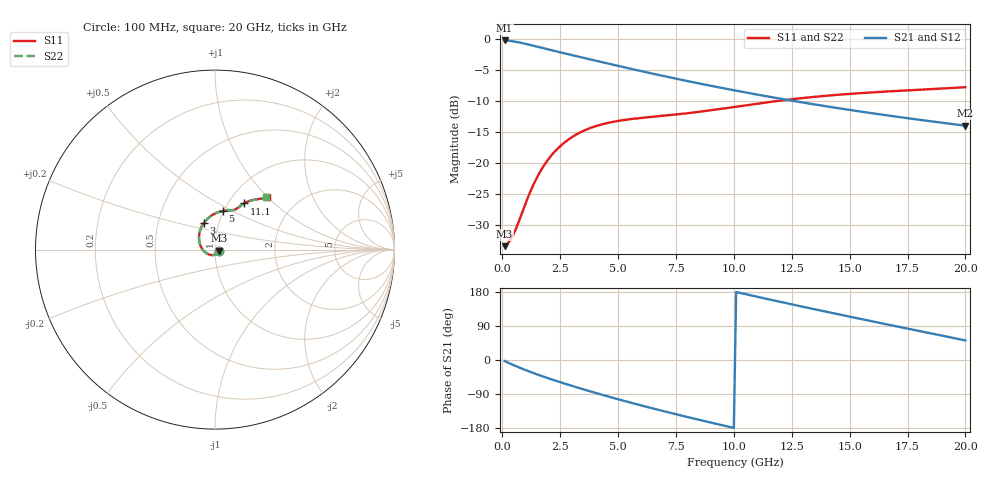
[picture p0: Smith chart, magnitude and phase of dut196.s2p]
! Touchstone file exported from HFSS 2023.1.0
!  File:  D:/Users/fzz/RDL_TSV/temp_RDL_TSV_196_1778756166.aedt
!  Generated:  7:05:07 %x4E0B%x5348  5%x6708 14, 2026
!  Design:  RDL_TSV
!  Project:  temp_RDL_TSV_196_1778756166
!  Setup:  Setup1
!  Solution:  Sweep
! Variables:
!  dtsv = 19.71um
!  hbump = 3um
!  htsv = 90.69um
!  ldown = 382.26um
!  lrdl = 664.3um
!  p = 40
!  p1 = 48.13um
!  rhole = 10um
!  subl = 3803.98um
!  t = 450um
!  tdown = 2.64um
!  trdl = 4.72um
!  viad = 10um
!  wdown = 25.63um
!  wrdl = 12.85um
!  xbump = 18um
# GHz S MA R 50.000000
! Terminal data exported
! Port[1] = TM1_1_T1
! Port[2] = TM1_4_T1
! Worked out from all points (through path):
!   200 points, 100 MHz to 20 GHz, reference 50 ohm
!   highest |S21| = -0.20 dB at 100 MHz (marker M1); lowest = -13.9 dB at 20 GHz (marker M2)
!   group delay of S21, straight-line fit = 40.7 ps
!   lowest |S11| = -33.4 dB at 100 MHz (marker M3), VSWR 1.04, Z = 52.1 - j0.626 ohm
!   |S11| at or under -10 dB: start of sweep to 11.78 GHz
!   |S22| runs from -33.4 to -7.8 dB; largest |S21 - S12| = 5.5e-15
!   S11 on the Smith chart (normalised r, x): 100 MHz: 1.04, -0.01; 3 GHz: 0.85, +0.26; 5 GHz: 0.99, +0.45; 11.1 GHz: 1.18, +0.67; 20 GHz: 1.40, +0.99
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0.1  0.02148 -16.2  0.9777 -2.8  0.9777 -2.8  0.02148 -16.2
! Gamma 0 0 0 0
! Port Impedance 50 0 50 0
0.3  0.0234 -50.1  0.9708 -8.4  0.9708 -8.4  0.02341 -50.1
0.5  0.02721 -83.8  0.9594 -13.8  0.9594 -13.8  0.02722 -83.8
0.9  0.04217 -138.8  0.928 -24.0  0.928 -24.0  0.04219 -138.7
1.4  0.07071 177.7  0.8815 -35.7  0.8815 -35.7  0.07072 177.8
1.7  0.08967 159.7  0.8536 -42.3  0.8536 -42.3  0.08967 159.7
2.1  0.1145 141.0  0.818 -50.6  0.818 -50.6  0.1145 141.1
2.5  0.1374 126.4  0.7846 -58.5  0.7846 -58.5  0.1374 126.5
3  0.1622 112.0  0.7454 -68.1  0.7454 -68.1  0.1622 112.0
3.5  0.1824 100.6  0.7086 -77.4  0.7086 -77.4  0.1825 100.6
4.2  0.2035 88.3  0.6605 -89.9  0.6605 -89.9  0.2037 88.4
5  0.2195 78.3  0.61 -103.6  0.61 -103.6  0.2197 78.3
5.9  0.2311 70.7  0.5587 -118.3  0.5587 -118.3  0.2313 70.7
6.8  0.2401 66.1  0.513 -132.5  0.513 -132.5  0.2403 66.0
8.3  0.2572 62.2  0.448 -155.0  0.448 -155.0  0.2573 62.1
10.1  0.2861 59.5  0.3849 179.4  0.3849 179.4  0.2858 59.3
11.1  0.3041 57.8  0.3555 165.6  0.3555 165.6  0.3035 57.7
12.2  0.3234 55.8  0.3271 150.8  0.3271 150.8  0.3225 55.6
13.4  0.3422 53.4  0.3 135.0  0.3 135.0  0.341 53.3
15  0.3627 50.6  0.2693 114.4  0.2693 114.4  0.3613 50.5
16.7  0.3799 48.1  0.2422 92.9  0.2422 92.9  0.3782 48.1
20  0.4106 45.6  0.2009 51.7  0.2009 51.7  0.4089 45.7
